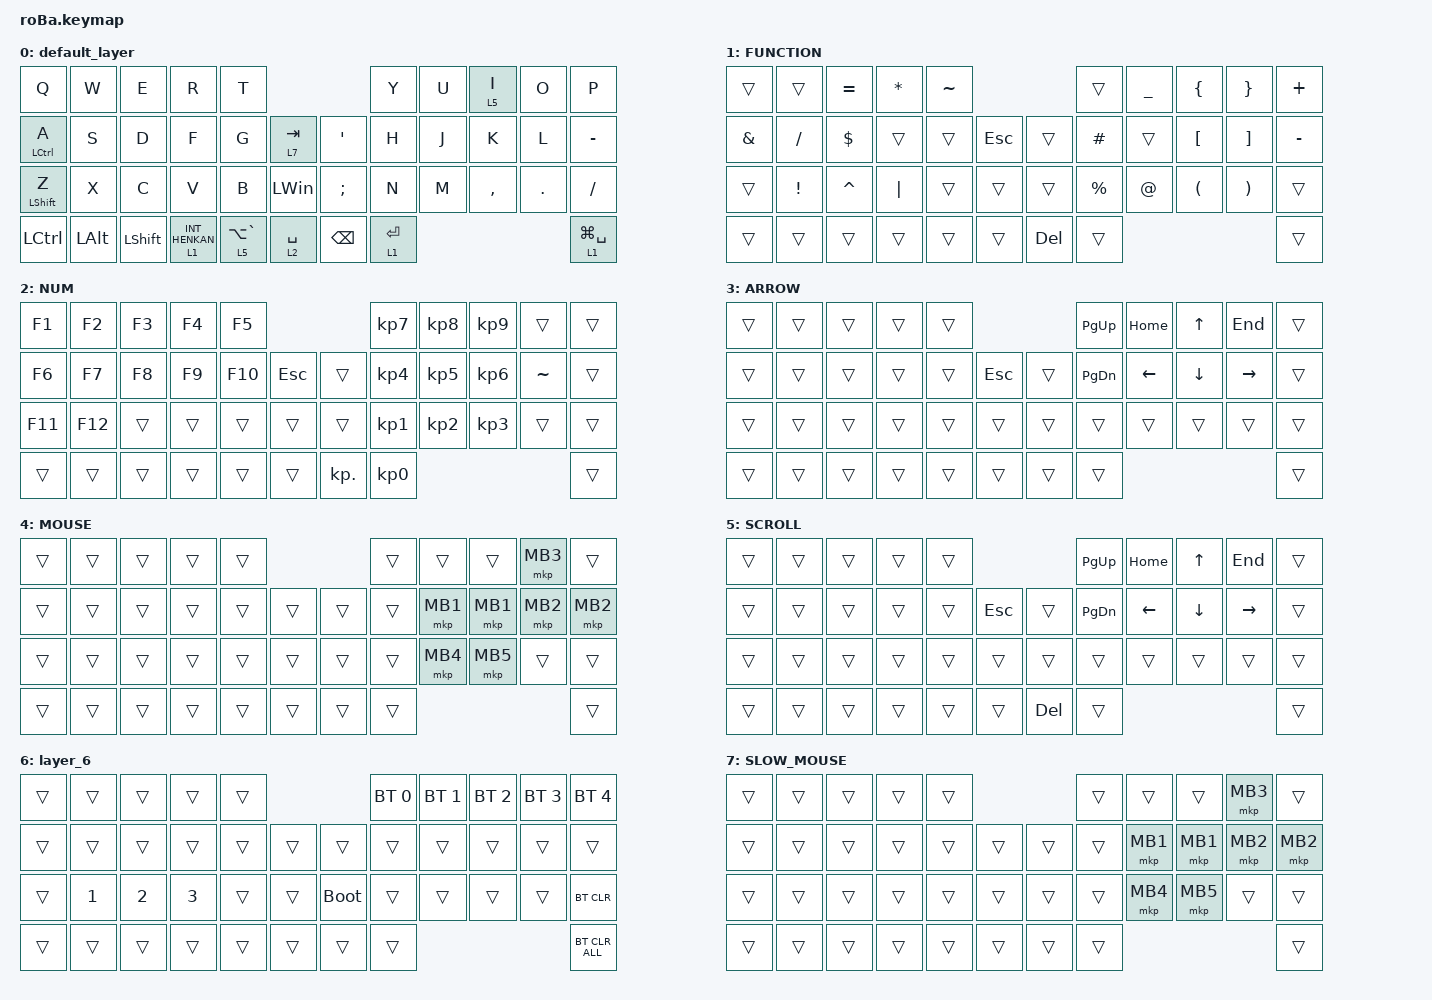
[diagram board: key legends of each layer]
#include <behaviors.dtsi>
#include <dt-bindings/zmk/bt.h>
#include <dt-bindings/zmk/keys.h>
#include <dt-bindings/zmk/pointing.h>

&mt {
    flavor = "balanced";
    quick-tap-ms = <0>;
};

&trackball {
    automouse-layer = <4>;
    scroll-layers = <5>;

    // arrows {
    //     layers = <3>;
    //     bindings =
    //         <&kp RIGHT_ARROW>,
    //         <&kp LEFT_ARROW>,
    //         <&kp UP_ARROW>,
    //         <&kp DOWN_ARROW>;
    //     tick = <10>;
    //     wait-ms = <5>;
    //     tap-ms = <5>;
    // };
};

/ {
    combos {
        compatible = "zmk,combos";

        tab {
            bindings = <&kp TAB>;
            key-positions = <11 12>;
        };

        shift_tab {
            bindings = <&kp LS(TAB)>;
            key-positions = <12 13>;
        };

        muhennkann {
            bindings = <&to_layer_0 INT_MUHENKAN>;
            key-positions = <11 10>;
        };

        double_quotation {
            bindings = <&kp DOUBLE_QUOTES>;
            key-positions = <20 21>;
        };

        eq {
            bindings = <&kp EQUAL>;
            key-positions = <24 25>;
        };

        layer6 {
            bindings = <&mo 6>;
            key-positions = <21 42>;
        };
    };

    macros {
        to_layer_0: to_layer_0 {
            compatible = "zmk,behavior-macro-one-param";
            #binding-cells = <1>;
            bindings = <&to 0 &macro_param_1to1 &kp MACRO_PLACEHOLDER>;
            label = "TO_LAYER_0";
        };
    };

    behaviors {
        lt_to_layer_0: lt_to_layer_0 {
            compatible = "zmk,behavior-hold-tap";
            label = "LAYER_TAP_TO_0";
            bindings = <&mo>, <&to_layer_0>;

            #binding-cells = <2>;
            tapping-term-ms = <200>;
        };
    };

    keymap {
        compatible = "zmk,keymap";

        default_layer {
            bindings = <
&kp Q             &kp W         &kp E           &kp R                        &kp T                                                       &kp Y        &kp U  &lt 5 I    &kp O    &kp P
&mt LCTRL A       &kp S         &kp D           &kp F                        &kp G            &lt 7 TAB                   &kp APOS       &kp H        &kp J  &kp K      &kp L    &kp MINUS
&mt LEFT_SHIFT Z  &kp X         &kp C           &kp V                        &kp B            &kp LEFT_WIN                &kp SEMICOLON  &kp N        &kp M  &kp COMMA  &kp DOT  &kp SLASH
&kp LCTRL         &kp LEFT_ALT  &kp LEFT_SHIFT  &lt_to_layer_0 1 INT_HENKAN  &lt 5 LA(GRAVE)  &lt_to_layer_0 2 SPACE      &kp BACKSPACE  &lt 1 ENTER                             &lt 1 LG(SPACE)
            >;
        };

        FUNCTION {
            bindings = <
&trans         &trans     &kp EQUAL   &kp ASTERISK  &kp TILDE                              &trans       &kp UNDER  &kp LEFT_BRACE        &kp RIGHT_BRACE        &kp PLUS
&kp AMPERSAND  &kp SLASH  &kp DOLLAR  &trans        &trans     &kp ESCAPE      &trans      &kp HASH     &trans     &kp LEFT_BRACKET      &kp RIGHT_BRACKET      &kp MINUS
&trans         &kp EXCL   &kp CARET   &kp PIPE      &trans     &trans          &trans      &kp PERCENT  &kp AT     &kp LEFT_PARENTHESIS  &kp RIGHT_PARENTHESIS  &trans
&trans         &trans     &trans      &trans        &trans     &trans          &kp DELETE  &trans                                                               &trans
            >;
        };

        NUM {
            bindings = <
&kp F1   &kp F2   &kp F3  &kp F4  &kp F5                               &kp KP_NUMBER_7  &kp KP_NUMBER_8  &kp KP_NUMBER_9  &trans     &trans
&kp F6   &kp F7   &kp F8  &kp F9  &kp F10  &kp ESCAPE      &trans      &kp KP_NUMBER_4  &kp KP_NUMBER_5  &kp KP_NUMBER_6  &kp TILDE  &trans
&kp F11  &kp F12  &trans  &trans  &trans   &trans          &trans      &kp KP_NUMBER_1  &kp KP_NUMBER_2  &kp KP_NUMBER_3  &trans     &trans
&trans   &trans   &trans  &trans  &trans   &trans          &kp KP_DOT  &kp KP_NUMBER_0                                               &trans
            >;
        };

        ARROW {
            bindings = <
&trans  &trans  &trans  &trans  &trans                          &kp PAGE_UP    &kp HOME        &kp UP_ARROW    &kp END    &trans
&trans  &trans  &trans  &trans  &trans  &kp ESCAPE      &trans  &kp PAGE_DOWN  &kp LEFT_ARROW  &kp DOWN_ARROW  &kp RIGHT  &trans
&trans  &trans  &trans  &trans  &trans  &trans          &trans  &trans         &trans          &trans          &trans     &trans
&trans  &trans  &trans  &trans  &trans  &trans          &trans  &trans                                                    &trans
            >;
        };

        MOUSE {
            bindings = <
&trans  &trans  &trans  &trans  &trans                      &trans  &trans    &trans    &mkp MB3  &trans
&trans  &trans  &trans  &trans  &trans  &trans      &trans  &trans  &mkp MB1  &mkp MB1  &mkp MB2  &mkp MB2
&trans  &trans  &trans  &trans  &trans  &trans      &trans  &trans  &mkp MB4  &mkp MB5  &trans    &trans
&trans  &trans  &trans  &trans  &trans  &trans      &trans  &trans                                &trans
            >;
        };

        SCROLL {
            bindings = <
&trans  &trans  &trans  &trans  &trans                              &kp PAGE_UP    &kp HOME  &kp UP_ARROW  &kp END    &trans
&trans  &trans  &trans  &trans  &trans  &kp ESCAPE      &trans      &kp PAGE_DOWN  &kp LEFT  &kp DOWN      &kp RIGHT  &trans
&trans  &trans  &trans  &trans  &trans  &trans          &trans      &trans         &trans    &trans        &trans     &trans
&trans  &trans  &trans  &trans  &trans  &trans          &kp DELETE  &trans                                            &trans
            >;
        };

        layer_6 {
            bindings = <
&trans  &trans        &trans        &trans        &trans                           &bt BT_SEL 0  &bt BT_SEL 1  &bt BT_SEL 2  &bt BT_SEL 3  &bt BT_SEL 4
&trans  &trans        &trans        &trans        &trans  &trans      &trans       &trans        &trans        &trans        &trans        &trans
&trans  &kp NUMBER_1  &kp NUMBER_2  &kp NUMBER_3  &trans  &trans      &bootloader  &trans        &trans        &trans        &trans        &bt BT_CLR
&trans  &trans        &trans        &trans        &trans  &trans      &trans       &trans                                                  &bt BT_CLR_ALL
            >;
        };

        SLOW_MOUSE {
            bindings = <
&trans  &trans  &trans  &trans  &trans                      &trans  &trans    &trans    &mkp MB3  &trans
&trans  &trans  &trans  &trans  &trans  &trans      &trans  &trans  &mkp MB1  &mkp MB1  &mkp MB2  &mkp MB2
&trans  &trans  &trans  &trans  &trans  &trans      &trans  &trans  &mkp MB4  &mkp MB5  &trans    &trans
&trans  &trans  &trans  &trans  &trans  &trans      &trans  &trans                                &trans
            >;
        };
    };
};
